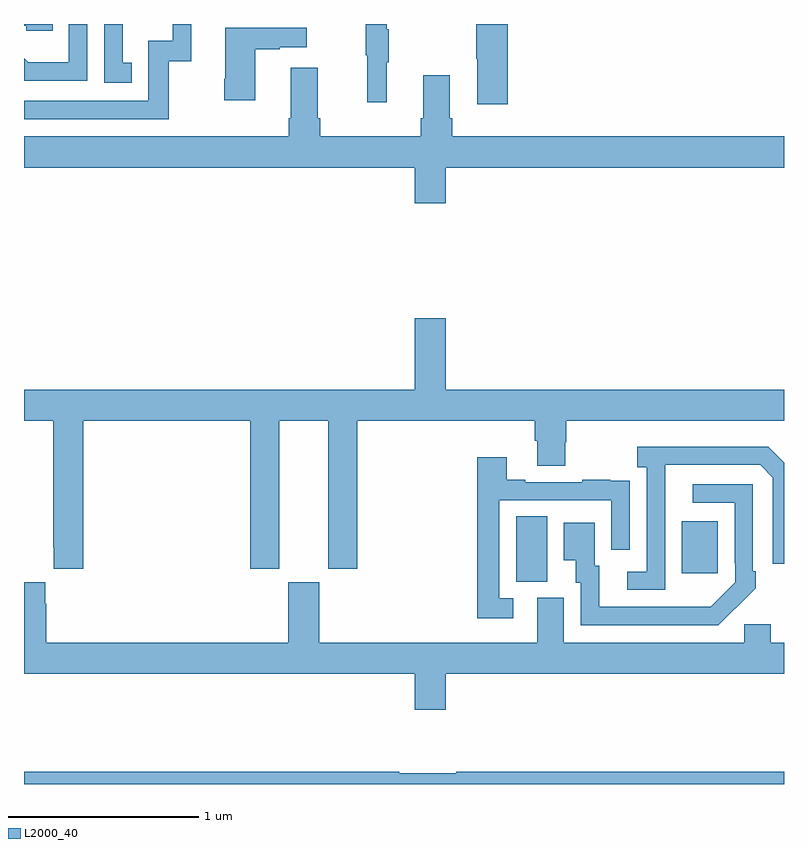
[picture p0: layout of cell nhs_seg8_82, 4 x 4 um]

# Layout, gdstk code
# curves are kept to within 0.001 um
import gdstk
lib = gdstk.Library(unit=1e-6, precision=1e-09)
def R(c, l, rs):  # rectangles x0, y0, x1, y1
    for r in rs: c.add(gdstk.rectangle(r[:2], r[2:], *l))
def P(c, l, *ps):  # polygons
    for p in ps: c.add(gdstk.Polygon(p, *l))
L2000_40 = (2000, 40)

nhs_seg8_82 = lib.new_cell('nhs_seg8_82')
R(nhs_seg8_82, L2000_40, [(117.59,1136.965,117.754,1137.308), (118.463,1137.009,118.651,1137.283)])
P(nhs_seg8_82, L2000_40, [(115.762,1139.703),(115.88,1139.703),(115.88,1139.9),(115.782,1139.9),(115.782,1139.811),(115.653,1139.811),(115.653,1139.496),(115,1139.496),(115,1139.4),(115.762,1139.4)],
  [(115.151,1139.9),(115,1139.9),(115,1139.892),(115.011,1139.892),(115.011,1139.865),(115.151,1139.865)],
  [(115.332,1139.9),(115.236,1139.9),(115.236,1139.698),(115.022,1139.698),(115,1139.72),(115,1139.601),(115.332,1139.601)],
  [(116.909,1139.699),(116.92,1139.699),(116.92,1139.873),(116.909,1139.873),(116.909,1139.9),(116.799,1139.9),(116.799,1139.736),(116.806,1139.736),(116.806,1139.487),(116.909,1139.487)],
  [(115.568,1139.697),(115.519,1139.697),(115.519,1139.9),(115.422,1139.9),(115.422,1139.592),(115.568,1139.592)],
  [(117.545,1139.9),(117.379,1139.9),(117.379,1139.716),(117.386,1139.716),(117.386,1139.478),(117.545,1139.478)],
  [(116.218,1139.767),(116.345,1139.767),(116.345,1139.777),(116.488,1139.777),(116.488,1139.881),(116.06,1139.881),(116.06,1139.611),(116.053,1139.611),(116.053,1139.499),(116.218,1139.499)],
  [(117.22,1139.144),(119,1139.144),(119,1139.308),(117.254,1139.308),(117.254,1139.404),(117.241,1139.404),(117.241,1139.629),(117.101,1139.629),(117.101,1139.404),(117.089,1139.404),(117.089,1139.308),(116.558,1139.308),(116.558,1139.404),(116.545,1139.404),(116.545,1139.671),(116.405,1139.671),(116.405,1139.404),(116.393,1139.404),(116.393,1139.308),(115,1139.308),(115,1139.144),(117.056,1139.144),(117.056,1138.956),(117.22,1138.956)],
  [(115.313,1137.812),(116.192,1137.812),(116.192,1137.033),(116.344,1137.033),(116.344,1137.812),(116.6,1137.812),(116.6,1137.033),(116.753,1137.033),(116.753,1137.812),(117.689,1137.812),(117.689,1137.706),(117.701,1137.706),(117.701,1137.574),(117.849,1137.574),(117.849,1137.699),(117.854,1137.699),(117.854,1137.812),(119,1137.812),(119,1137.976),(117.22,1137.976),(117.22,1138.351),(117.056,1138.351),(117.056,1137.976),(115,1137.976),(115,1137.812),(115.153,1137.812),(115.153,1137.145),(115.157,1137.145),(115.157,1137.033),(115.313,1137.033)],
  [(118.374,1137.379),(118.375,1137.579),(118.875,1137.579),(118.941,1137.513),(118.941,1137.06),(119,1137.06),(119,1137.592),(118.916,1137.676),(118.227,1137.676),(118.227,1137.566),(118.278,1137.566),(118.278,1137.018),(118.176,1137.018),(118.176,1136.922),(118.374,1136.922)],
  [(117.574,1136.877),(117.501,1136.877),(117.501,1137.393),(118.092,1137.393),(118.092,1137.132),(118.188,1137.132),(118.188,1137.386),(118.187,1137.386),(118.187,1137.495),(118.085,1137.495),(118.085,1137.502),(117.937,1137.502),(117.937,1137.489),(117.637,1137.489),(117.637,1137.502),(117.541,1137.502),(117.541,1137.619),(117.385,1137.619),(117.385,1136.772),(117.574,1136.772)],
  [(118.745,1136.827),(118.746,1136.826),(118.851,1136.931),(118.851,1137.019),(118.836,1137.019),(118.836,1137.477),(118.521,1137.477),(118.521,1137.381),(118.74,1137.381),(118.74,1137.061),(118.743,1137.061),(118.743,1136.961),(118.615,1136.833),(118.027,1136.832),(118.027,1137.048),(118.003,1137.048),(118.003,1137.274),(117.842,1137.274),(117.842,1137.077),(117.905,1137.077),(117.905,1136.958),(117.93,1136.958),(117.93,1136.736),(118.654,1136.736)],
  [(117.22,1136.48),(119,1136.48),(119,1136.644),(118.93,1136.644),(118.93,1136.742),(118.791,1136.742),(118.791,1136.644),(117.841,1136.644),(117.841,1136.88),(117.701,1136.88),(117.701,1136.644),(116.554,1136.644),(116.554,1136.961),(116.39,1136.961),(116.39,1136.644),(115.118,1136.644),(115.118,1136.849),(115.111,1136.849),(115.111,1136.962),(115,1136.962),(115,1136.48),(117.056,1136.48),(117.056,1136.292),(117.22,1136.292)],
  [(119,1135.964),(117.275,1135.964),(117.275,1135.957),(116.975,1135.957),(116.975,1135.964),(115,1135.964),(115,1135.9),(119,1135.9)])

lib.write_gds('nhs_seg8_82.gds')
